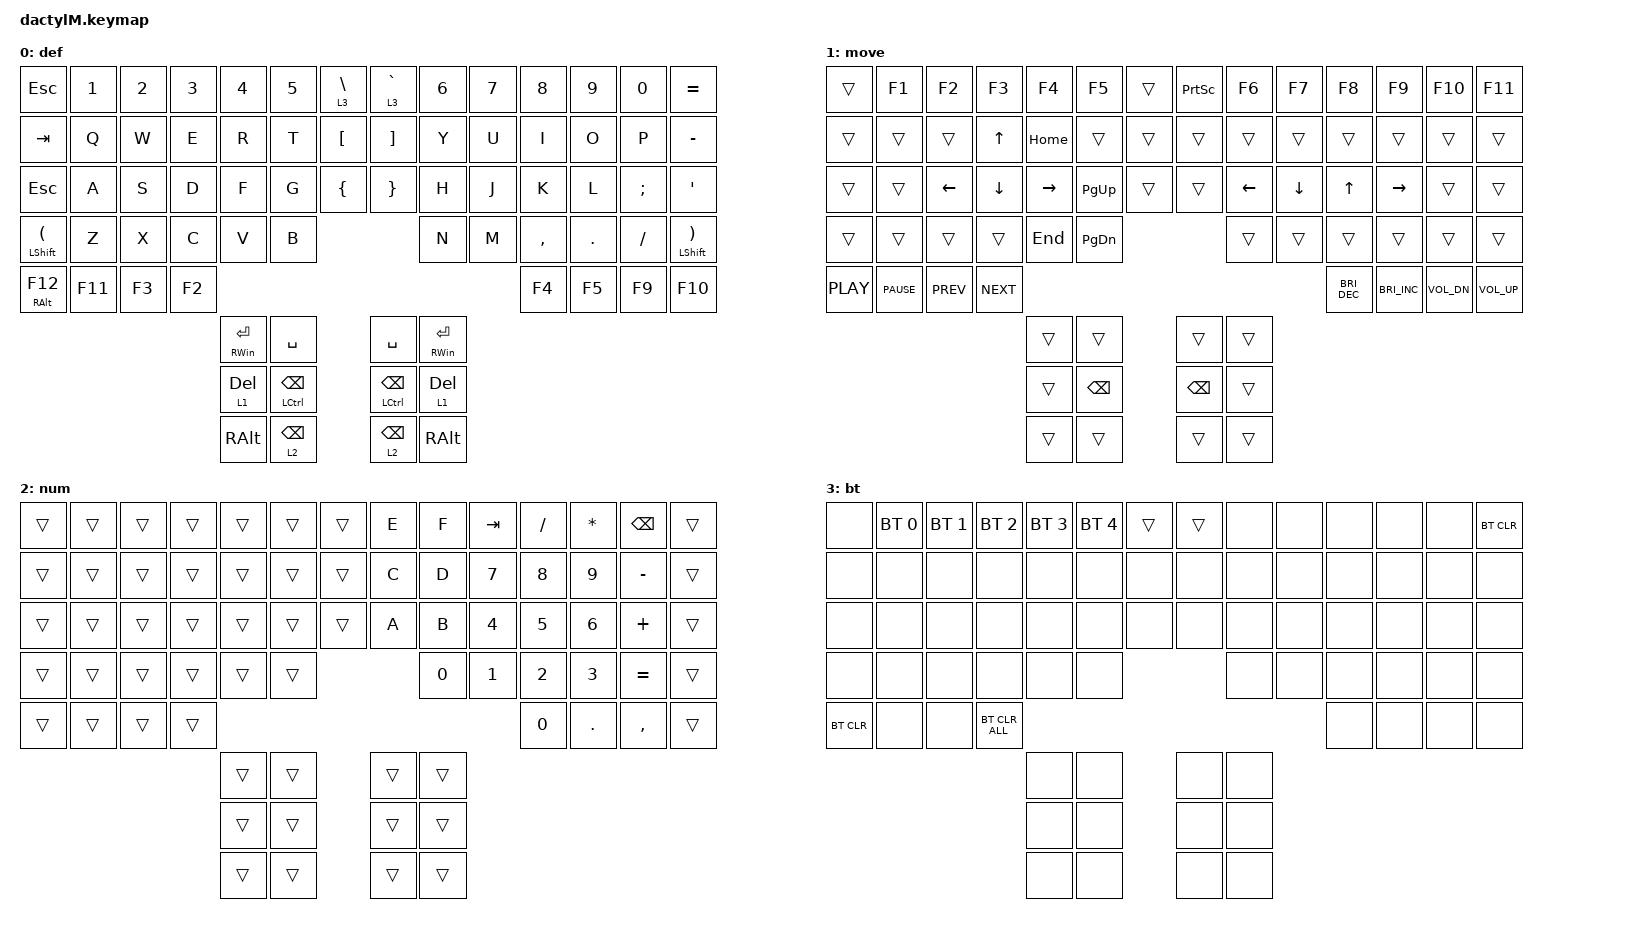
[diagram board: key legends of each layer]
/*
 * Copyright (c) 2020 The ZMK Contributors
 *
 * SPDX-License-Identifier: MIT
 */
/**/

#include <behaviors.dtsi>
#include <dt-bindings/zmk/keys.h>
#include <dt-bindings/zmk/bt.h>

#define DEFAULT 0
#define Movement 1
#define NumPad 2
#define Extra 3

/ {
    behaviors {
        // @TODO (undg) 2023-01-15: Investigate annoying ms wait/delay in tap dance.
        //                          I want it as follow -
        //                          hold: hold KEY1;
        //                          tap: press KEY2;
        //                          tap-tap: hold KEY2;
        tdbsp: tap_dance_bspc {
            compatible = "zmk,behavior-tap-dance";
            label = "TAP_DANCE_0";
            #binding-cells = <0>;
            tapping-term-ms = <150>;
            bindings = <&mt LCTRL BSPC>, <&kp BSPC>;
        };
        tdenter: tap_dance_enter {
            compatible = "zmk,behavior-tap-dance";
            label = "TAP_DANCE_1";
            #binding-cells = <0>;
            tapping-term-ms = <150>;
            bindings = <&mt RWIN ENTER>, <&kp ENTER>;
        };
        tddel: tap_dance_del {
            compatible = "zmk,behavior-tap-dance";
            label = "TAP_DANCE_2";
            #binding-cells = <0>;
            tapping-term-ms = <150>;
            bindings = <&lt 1 DEL>, <&kp DEL>;
        };
    };
    // https://zmk.dev/docs/codes
    keymap {
        compatible = "zmk,keymap";

        def {
            bindings = <
&kp ESC        &kp N1        &kp N2        &kp N3        &kp N4        &kp N5        &lt 3 BACKSLASH        &lt 3 GRAVE     &kp N6        &kp N7        &kp N8        &kp N9          &kp N0         &kp EQUAL
&kp TAB        &kp Q         &kp W         &kp E         &kp R         &kp T         &kp LBKT               &kp RBKT        &kp Y         &kp U         &kp I         &kp O           &kp P          &kp MINUS
&kp ESC        &kp A         &kp S         &kp D         &kp F         &kp G         &kp LBRC               &kp RBRC        &kp H         &kp J         &kp K         &kp L           &kp SEMI       &kp APOS
&mt LSHFT LPAR &kp Z         &kp X         &kp C         &kp V         &kp B                                                &kp N         &kp M         &kp COMMA     &kp DOT         &kp SLASH      &mt LSHFT RPAR
&mt RALT F12   &kp F11       &kp F3        &kp F2                                                                                                       &kp F4        &kp F5          &kp F9         &kp F10
                                                                &mt RWIN ENTER  &kp SPACE                        &kp SPACE      &mt RWIN ENTER
                                                                &lt 1 DEL       &mt LCTRL BSPC                   &mt LCTRL BSPC &lt 1 DEL
                                                                &kp RALT        &lt 2 BSPC                       &lt 2 BSPC     &kp RALT
            >;
        };

        move {
           bindings = <
&trans         &kp F1        &kp F2        &kp F3        &kp F4        &kp F5        &trans                 &kp PRINTSCREEN &kp F6        &kp F7        &kp F8        &kp F9          &kp F10        &kp F11
&trans         &trans        &trans        &kp UP        &kp HOME      &trans        &trans                 &trans          &trans        &trans        &trans        &trans          &trans         &trans
&trans         &trans        &kp LEFT      &kp DOWN      &kp RIGHT     &kp PG_UP     &trans                 &trans          &kp LEFT      &kp DOWN      &kp UP        &kp RIGHT       &trans         &trans
&trans         &trans        &trans        &trans        &kp END       &kp PG_DN                                            &trans        &trans        &trans        &trans          &trans         &trans
&kp C_PLAY     &kp C_PAUSE   &kp C_PREV    &kp C_NEXT                                                                                                   &kp C_BRI_DEC &kp C_BRI_INC   &kp C_VOL_DN   &kp C_VOL_UP
                                                                &trans         &trans                            &trans         &trans
                                                                &trans         &kp BSPC                          &kp BSPC       &trans
                                                                &trans         &trans                            &trans         &trans
            >;
        };

        num {
           bindings = <
&trans         &trans        &trans        &trans        &trans        &trans        &trans                 &kp E           &kp F         &kp TAB       &kp SLASH     &kp STAR        &kp BSPC       &trans
&trans         &trans        &trans        &trans        &trans        &trans        &trans                 &kp C           &kp D         &kp N7        &kp N8        &kp N9          &kp MINUS      &trans
&trans         &trans        &trans        &trans        &trans        &trans        &trans                 &kp A           &kp B         &kp N4        &kp N5        &kp N6          &kp PLUS       &trans
&trans         &trans        &trans        &trans        &trans        &trans                                               &kp N0        &kp N1        &kp N2        &kp N3          &kp EQUAL      &trans
&trans         &trans        &trans        &trans                                                                                                       &kp N0        &kp DOT         &kp COMMA      &trans
                                                                &trans         &trans                            &trans         &trans
                                                                &trans         &trans                            &trans         &trans
                                                                &trans         &trans                            &trans         &trans
            >;
        };

        bt {
           bindings = <
&none          &bt BT_SEL 0  &bt BT_SEL 1  &bt BT_SEL 2  &bt BT_SEL 3  &bt BT_SEL 4  &trans                 &trans          &none         &none         &none         &none           &none          &bt BT_CLR
&none          &none         &none         &none         &none         &none         &none                  &none           &none         &none         &none         &none           &none          &none
&none          &none         &none         &none         &none         &none         &none                  &none           &none         &none         &none         &none           &none          &none
&none          &none         &none         &none         &none         &none                                                &none         &none         &none         &none           &none          &none
&bt BT_CLR     &none         &none         &bt BT_CLR_ALL                                                                                               &none         &none           &none          &none
                                                                &none          &none                             &none          &none
                                                                &none          &none                             &none          &none
                                                                &none          &none                             &none          &none
            >;

        };
    };
};
// vim: nofoldenable ft=c

